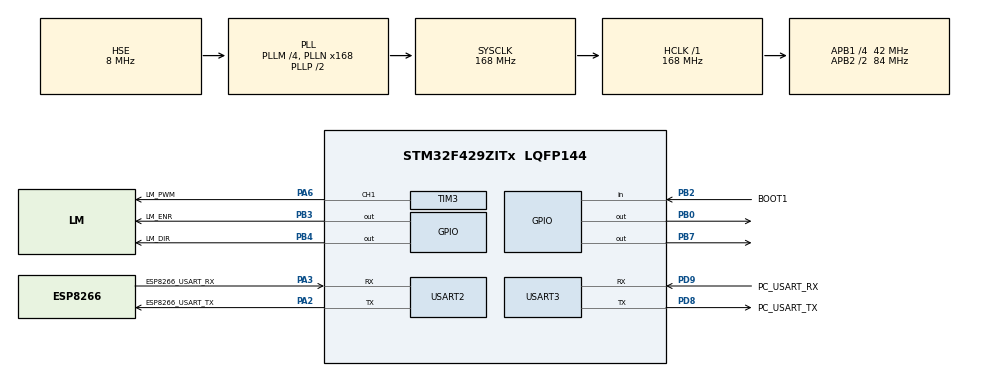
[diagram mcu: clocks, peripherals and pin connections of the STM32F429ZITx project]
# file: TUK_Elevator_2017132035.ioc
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Mcu.Family=STM32F4
Mcu.Name=STM32F429ZITx
Mcu.Package=LQFP144
NVIC.PriorityGroup=NVIC_PRIORITYGROUP_4
NVIC.TIM3_IRQn=true\:0\:0\:false\:false\:true\:true\:true
NVIC.USART2_IRQn=true\:0\:0\:false\:false\:true\:true\:true
NVIC.USART3_IRQn=true\:0\:0\:false\:false\:true\:true\:true
PA13.Mode=Serial_Wire
PA13.Signal=SYS_JTMS-SWDIO
PA14.Mode=Serial_Wire
PA14.Signal=SYS_JTCK-SWCLK
PA2.GPIO_Label=ESP8266_USART_TX
PA2.Mode=Asynchronous
PA2.Signal=USART2_TX
PA3.GPIO_Label=ESP8266_USART_RX
PA3.Mode=Asynchronous
PA3.Signal=USART2_RX
PA6.GPIO_Label=LM_PWM
PA6.Signal=S_TIM3_CH1
PB0.Signal=GPIO_Output
PB2/BOOT1.GPIO_Label=BOOT1
PB2/BOOT1.Signal=GPIO_Input
PB3.GPIO_Label=LM_ENR
PB3.GPIO_Speed=GPIO_SPEED_FREQ_VERY_HIGH
PB3.Signal=GPIO_Output
PB4.GPIO_Label=LM_DIR
PB4.GPIO_Speed=GPIO_SPEED_FREQ_VERY_HIGH
PB4.Signal=GPIO_Output
PB7.Signal=GPIO_Output
PD8.GPIO_Label=PC_USART_TX
PD8.Mode=Asynchronous
PD8.Signal=USART3_TX
PD9.GPIO_Label=PC_USART_RX
PD9.Mode=Asynchronous
PD9.Signal=USART3_RX
PH0/OSC_IN.Mode=HSE-External-Clock-Source
PH0/OSC_IN.Signal=RCC_OSC_IN
PH1/OSC_OUT.Mode=HSE-External-Clock-Source
PH1/OSC_OUT.Signal=RCC_OSC_OUT
ProjectManager.HeapSize=0x200
ProjectManager.StackSize=0x400
ProjectManager.TargetToolchain=STM32CubeIDE
RCC.48MHZClocksFreq_Value=84000000
RCC.AHBFreq_Value=168000000
RCC.APB1CLKDivider=RCC_HCLK_DIV4
RCC.APB1Freq_Value=42000000
RCC.APB1TimFreq_Value=84000000
RCC.APB2CLKDivider=RCC_HCLK_DIV2
RCC.APB2Freq_Value=84000000
RCC.APB2TimFreq_Value=168000000
RCC.CortexFreq_Value=168000000
RCC.HCLKFreq_Value=168000000
RCC.HSE_VALUE=8000000
RCC.HSI_VALUE=16000000
RCC.LSE_VALUE=32768
RCC.PLLM=4
RCC.PLLN=168
RCC.PLLSourceVirtual=RCC_PLLSOURCE_HSE
RCC.SYSCLKFreq_VALUE=168000000
RCC.SYSCLKSource=RCC_SYSCLKSOURCE_PLLCLK
RCC.VCOOutputFreq_Value=336000000
SH.S_TIM3_CH1.0=TIM3_CH1,PWM Generation1 CH1
TIM3.Channel-PWM\ Generation1\ CH1=TIM_CHANNEL_1
TIM3.Period=150-1
TIM3.Prescaler=84-1
TIM3.Pulse-PWM\ Generation1\ CH1=75-1
USART2.VirtualMode=VM_ASYNC
USART3.VirtualMode=VM_ASYNC
VP_TIM3_VS_ClockSourceINT.Mode=Internal
board=custom

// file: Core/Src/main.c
/* USER CODE BEGIN Header */
/**
  ******************************************************************************
  * @file           : main.c
  * @brief          : Main program body
  ******************************************************************************
  * @attention
  *
  * Copyright (c) 2022 STMicroelectronics.
  * All rights reserved.
  *
  * This software is licensed under terms that can be found in the LICENSE file
  * in the root directory of this software component.
  * If no LICENSE file comes with this software, it is provided AS-IS.
  *
  ******************************************************************************
  */

/*

Major : Mechatronics Engineering
Author: In-Hwan Jeong( 정인환 )
Reference : https://controllerstech.com/의 ESP8266_HAL.c, UartRingbuffer_multi.c

*/

/* USER CODE END Header */
#include "main.h"

/* USER CODE BEGIN Includes */
#include "ESP8266_HAL.h"
#include "UartRingbuffer_multi.h"
/* USER CODE END Includes */

/* USER CODE BEGIN PD */

#define LM_ENA_Yes 0
#define LM_ENA_No 1
#define Locker_on 1
#define Locker_off 2

#define LMSTEPCOUNT 245000 // 300mm
#define wifi_uart &huart2
#define pc_uart &huart3
/* USER CODE END PD */

TIM_HandleTypeDef htim3;

UART_HandleTypeDef huart2;
UART_HandleTypeDef huart3;

/* USER CODE BEGIN PV */
unsigned int LM_Guide_Step=0; // pwm on time
unsigned int LM_Position=0; // (motor) 0mm ~ (max) 320mm
int i=1;
unsigned char Elevator_Move_Flag=0;
unsigned char Elevator_Flag=0;
unsigned char Elevator_Floor=1;
unsigned char USER_Flag=0;
unsigned char LM_While=1;

/* USER CODE END PV */

void SystemClock_Config(void);
static void MX_GPIO_Init(void);
static void MX_TIM3_Init(void);
static void MX_USART3_UART_Init(void);
static void MX_USART2_UART_Init(void);

/* USER CODE BEGIN 0 */

void LM_Guide_ENA(int ena);
void LM_Guide_DIR(int dir);
void LM_Guide_move(int LM_Position_Goal);

void Wheel_DIR(int dir);
void TUK_Locker_Car_move(int Car_Move_Distance,int Speed, int Car_DIR);

void Elevator(int floor);

/* USER CODE END 0 */

int main(void)
{

  /* MCU Configuration--------------------------------------------------------*/

  /* Reset of all peripherals, Initializes the Flash interface and the Systick. */
  HAL_Init();

  /* Configure the system clock */
  SystemClock_Config();

  /* Initialize all configured peripherals */
  MX_GPIO_Init();
  MX_TIM3_Init();
  MX_USART3_UART_Init();
  MX_USART2_UART_Init();
  /* USER CODE BEGIN 2 */
  ESP_Init("CIR_Wireless","cir123456!");

  /* USER CODE END 2 */

  /* Infinite loop */
  /* USER CODE BEGIN WHILE */

    while (1)
    {

    	if(Elevator_Floor==2)
    	{
			if((Wait_for("11111", wifi_uart)))
			{
				HAL_GPIO_WritePin(GPIOB, GPIO_PIN_0 | GPIO_PIN_7,1);
				LM_Guide_move(0);

				Uart_flush (wifi_uart);

				Elevator(1);
				Elevator_Floor=1;
				HAL_GPIO_WritePin(GPIOB, GPIO_PIN_0 | GPIO_PIN_7,0);
			}
			HAL_Delay(500);
    	}
    	else if(Elevator_Floor==1)
    	{
			if((Wait_for("22222", wifi_uart)))
			{
				HAL_GPIO_WritePin(GPIOB, GPIO_PIN_0 | GPIO_PIN_7,1);
				LM_Guide_move(320);

				Uart_flush (wifi_uart);

				Elevator(2);
				Elevator_Floor=2;
				HAL_GPIO_WritePin(GPIOB, GPIO_PIN_0 | GPIO_PIN_7,0);
			}
			HAL_Delay(500);
    	}

    }
    /* USER CODE END WHILE */

}

void SystemClock_Config(void)
{
  RCC_OscInitTypeDef RCC_OscInitStruct = {0};
  RCC_ClkInitTypeDef RCC_ClkInitStruct = {0};

  /** Configure the main internal regulator output voltage
  */
  __HAL_RCC_PWR_CLK_ENABLE();
  __HAL_PWR_VOLTAGESCALING_CONFIG(PWR_REGULATOR_VOLTAGE_SCALE1);
  /** Initializes the RCC Oscillators according to the specified parameters
  * in the RCC_OscInitTypeDef structure.
  */
  RCC_OscInitStruct.OscillatorType = RCC_OSCILLATORTYPE_HSE;
  RCC_OscInitStruct.HSEState = RCC_HSE_BYPASS;
  RCC_OscInitStruct.PLL.PLLState = RCC_PLL_ON;
  RCC_OscInitStruct.PLL.PLLSource = RCC_PLLSOURCE_HSE;
  RCC_OscInitStruct.PLL.PLLM = 4;
  RCC_OscInitStruct.PLL.PLLN = 168;
  RCC_OscInitStruct.PLL.PLLP = RCC_PLLP_DIV2;
  RCC_OscInitStruct.PLL.PLLQ = 4;
  if (HAL_RCC_OscConfig(&RCC_OscInitStruct) != HAL_OK)
  {
    Error_Handler();
  }
  /** Initializes the CPU, AHB and APB buses clocks
  */
  RCC_ClkInitStruct.ClockType = RCC_CLOCKTYPE_HCLK|RCC_CLOCKTYPE_SYSCLK
                              |RCC_CLOCKTYPE_PCLK1|RCC_CLOCKTYPE_PCLK2;
  RCC_ClkInitStruct.SYSCLKSource = RCC_SYSCLKSOURCE_PLLCLK;
  RCC_ClkInitStruct.AHBCLKDivider = RCC_SYSCLK_DIV1;
  RCC_ClkInitStruct.APB1CLKDivider = RCC_HCLK_DIV4;
  RCC_ClkInitStruct.APB2CLKDivider = RCC_HCLK_DIV2;

  if (HAL_RCC_ClockConfig(&RCC_ClkInitStruct, FLASH_LATENCY_5) != HAL_OK)
  {
    Error_Handler();
  }
}

static void MX_TIM3_Init(void)
{

  TIM_ClockConfigTypeDef sClockSourceConfig = {0};
  TIM_MasterConfigTypeDef sMasterConfig = {0};
  TIM_OC_InitTypeDef sConfigOC = {0};

  htim3.Instance = TIM3;
  htim3.Init.Prescaler = 84-1;
  htim3.Init.CounterMode = TIM_COUNTERMODE_UP;
  htim3.Init.Period = 150-1;
  htim3.Init.ClockDivision = TIM_CLOCKDIVISION_DIV1;
  htim3.Init.AutoReloadPreload = TIM_AUTORELOAD_PRELOAD_DISABLE;
  if (HAL_TIM_Base_Init(&htim3) != HAL_OK)
  {
    Error_Handler();
  }
  sClockSourceConfig.ClockSource = TIM_CLOCKSOURCE_INTERNAL;
  if (HAL_TIM_ConfigClockSource(&htim3, &sClockSourceConfig) != HAL_OK)
  {
    Error_Handler();
  }
  if (HAL_TIM_PWM_Init(&htim3) != HAL_OK)
  {
    Error_Handler();
  }
  sMasterConfig.MasterOutputTrigger = TIM_TRGO_RESET;
  sMasterConfig.MasterSlaveMode = TIM_MASTERSLAVEMODE_DISABLE;
  if (HAL_TIMEx_MasterConfigSynchronization(&htim3, &sMasterConfig) != HAL_OK)
  {
    Error_Handler();
  }
  sConfigOC.OCMode = TIM_OCMODE_PWM1;
  sConfigOC.Pulse = 75-1;
  sConfigOC.OCPolarity = TIM_OCPOLARITY_HIGH;
  sConfigOC.OCFastMode = TIM_OCFAST_DISABLE;
  if (HAL_TIM_PWM_ConfigChannel(&htim3, &sConfigOC, TIM_CHANNEL_1) != HAL_OK)
  {
    Error_Handler();
  }
  HAL_TIM_MspPostInit(&htim3);

}

static void MX_USART2_UART_Init(void)
{

  huart2.Instance = USART2;
  huart2.Init.BaudRate = 115200;
  huart2.Init.WordLength = UART_WORDLENGTH_8B;
  huart2.Init.StopBits = UART_STOPBITS_1;
  huart2.Init.Parity = UART_PARITY_NONE;
  huart2.Init.Mode = UART_MODE_TX_RX;
  huart2.Init.HwFlowCtl = UART_HWCONTROL_NONE;
  huart2.Init.OverSampling = UART_OVERSAMPLING_16;
  if (HAL_UART_Init(&huart2) != HAL_OK)
  {
    Error_Handler();
  }

}

static void MX_USART3_UART_Init(void)
{

  huart3.Instance = USART3;
  huart3.Init.BaudRate = 115200;
  huart3.Init.WordLength = UART_WORDLENGTH_8B;
  huart3.Init.StopBits = UART_STOPBITS_1;
  huart3.Init.Parity = UART_PARITY_NONE;
  huart3.Init.Mode = UART_MODE_TX_RX;
  huart3.Init.HwFlowCtl = UART_HWCONTROL_NONE;
  huart3.Init.OverSampling = UART_OVERSAMPLING_16;
  if (HAL_UART_Init(&huart3) != HAL_OK)
  {
    Error_Handler();
  }

}

static void MX_GPIO_Init(void)
{
  GPIO_InitTypeDef GPIO_InitStruct = {0};

  /* GPIO Ports Clock Enable */
  __HAL_RCC_GPIOH_CLK_ENABLE();
  __HAL_RCC_GPIOA_CLK_ENABLE();
  __HAL_RCC_GPIOB_CLK_ENABLE();
  __HAL_RCC_GPIOD_CLK_ENABLE();

  /*Configure GPIO pin Output Level */
  HAL_GPIO_WritePin(GPIOB, GPIO_PIN_0|LM_ENR_Pin|LM_DIR_Pin|GPIO_PIN_7, GPIO_PIN_RESET);

  /*Configure GPIO pins : PB0 PB7 */
  GPIO_InitStruct.Pin = GPIO_PIN_0|GPIO_PIN_7;
  GPIO_InitStruct.Mode = GPIO_MODE_OUTPUT_PP;
  GPIO_InitStruct.Pull = GPIO_NOPULL;
  GPIO_InitStruct.Speed = GPIO_SPEED_FREQ_LOW;
  HAL_GPIO_Init(GPIOB, &GPIO_InitStruct);

  /*Configure GPIO pin : BOOT1_Pin */
  GPIO_InitStruct.Pin = BOOT1_Pin;
  GPIO_InitStruct.Mode = GPIO_MODE_INPUT;
  GPIO_InitStruct.Pull = GPIO_NOPULL;
  HAL_GPIO_Init(BOOT1_GPIO_Port, &GPIO_InitStruct);

  /*Configure GPIO pins : LM_ENR_Pin LM_DIR_Pin */
  GPIO_InitStruct.Pin = LM_ENR_Pin|LM_DIR_Pin;
  GPIO_InitStruct.Mode = GPIO_MODE_OUTPUT_PP;
  GPIO_InitStruct.Pull = GPIO_NOPULL;
  GPIO_InitStruct.Speed = GPIO_SPEED_FREQ_VERY_HIGH;
  HAL_GPIO_Init(GPIOB, &GPIO_InitStruct);

}

/* USER CODE BEGIN 4 */

void LM_Guide_ENA(int ena)
{
	if(ena)
		HAL_GPIO_WritePin(LM_ENR_GPIO_Port, LM_ENR_Pin, LM_ENA_Yes);
	else if(ena==0)
		HAL_GPIO_WritePin(LM_ENR_GPIO_Port, LM_ENR_Pin, LM_ENA_No);
}

void LM_Guide_DIR(int dir)
{
	if(dir)
		HAL_GPIO_WritePin(LM_DIR_GPIO_Port, LM_DIR_Pin, GPIO_PIN_SET);
	else if(dir==0)
		HAL_GPIO_WritePin(LM_DIR_GPIO_Port, LM_DIR_Pin, GPIO_PIN_RESET);
}

void LM_Guide_move(int LM_Position_Goal)
{
	int dir;
	int distance_to_move;

	LM_While=1;
	distance_to_move=LM_Position_Goal-LM_Position;
	if(LM_Position_Goal>=320)
		LM_Position_Goal=320;
	if(LM_Position_Goal<=0)
		LM_Position_Goal=0;

	LM_Position += distance_to_move;
	if(distance_to_move>0)
		dir=1;
	else
	{
		dir=0;
		distance_to_move *= -1;
	}

	LM_Guide_ENA(1);
	LM_Guide_DIR(dir);
	TIM3->CCR1 = 75;
	LM_Guide_Step=LMSTEPCOUNT*distance_to_move/320;

	HAL_TIM_PWM_Start_IT(&htim3, TIM_CHANNEL_1);
	while(LM_While);
	HAL_TIM_PWM_Stop_IT(&htim3, TIM_CHANNEL_1);

}

void HAL_TIM_PWM_PulseFinishedCallback(TIM_HandleTypeDef *htim)
{
	if(htim->Instance==TIM3)
	{
		if(LM_Guide_Step>0)
		{
			LM_Guide_Step--;
		}
		else if(LM_Guide_Step<=0)
		{
			LM_While=0;
			HAL_TIM_PWM_Stop_IT(&htim3, TIM_CHANNEL_1);
		}

	}
}

void Elevator(int floor)
{

	if(floor==1)
	{
		Uart_sendstring("AT+CIPSTART=1,\"TCP\",\"192.168.0.222\",80\r\n",wifi_uart);
		while (!(Wait_for("OK\r\n",wifi_uart)));
		Uart_sendstring("CIPSTART 192.168.0.222 OK\n\n", pc_uart);

		Uart_sendstring("AT+CIPSEND=1,5\r\n",wifi_uart);
		while (!(Wait_for(">", wifi_uart)));

		Uart_sendstring ("11111", wifi_uart);
		while (!(Wait_for("SEND OK", wifi_uart)));

		Uart_sendstring("AT+CIPCLOSE=1\r\n", wifi_uart);
		while (!(Wait_for("OK\r\n", wifi_uart)));
		Uart_sendstring("1\r\n", pc_uart);
	}
	else if(floor==2)
	{
		Uart_sendstring("AT+CIPSTART=1,\"TCP\",\"192.168.0.222\",80\r\n",wifi_uart);
		while (!(Wait_for("OK\r\n",wifi_uart)));
		Uart_sendstring("CIPSTART 192.168.0.222 OK\n\n", pc_uart);

		Uart_sendstring("AT+CIPSEND=1,5\r\n",wifi_uart);
		while (!(Wait_for(">", wifi_uart)));

		Uart_sendstring ("22222", wifi_uart);
		while (!(Wait_for("SEND OK", wifi_uart)));

		Uart_sendstring("AT+CIPCLOSE=1\r\n", wifi_uart);
		while (!(Wait_for("OK\r\n", wifi_uart)));
		Uart_sendstring("2\r\n", pc_uart);
	}

}

/* USER CODE END 4 */

void Error_Handler(void)
{
  __disable_irq();
  while (1)
  {
  }
}
